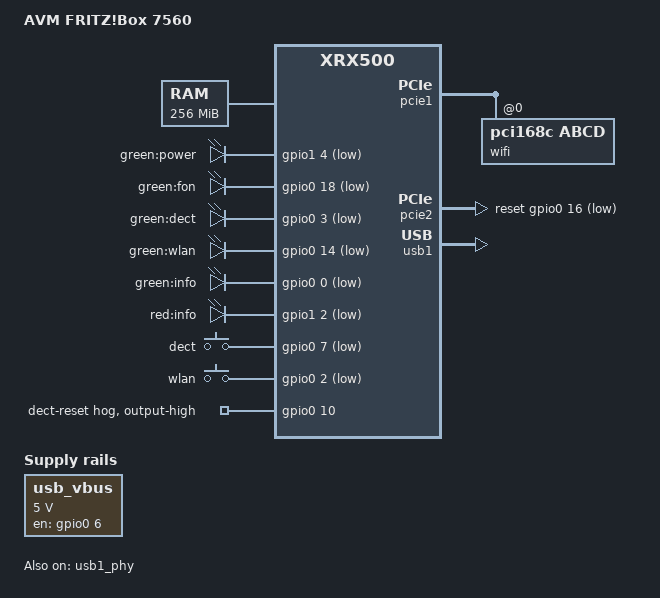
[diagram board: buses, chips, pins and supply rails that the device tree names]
// SPDX-License-Identifier: GPL-2.0-only
// Copyright (C) 2026 Grische <github@grische.xyz>
/*
 * AVM FRITZ!Box 7560 (HW221), GRX350. Board-specific data only; the SoC is
 * described in xrx500.dtsi and the board family in seale_avm.dtsi.
 */
/dts-v1/;

#include <dt-bindings/gpio/gpio.h>
#include <dt-bindings/input/input.h>

#include "seale_avm.dtsi"

/ {
	model = "AVM FRITZ!Box 7560";
	compatible = "avm,fritz7560", "intel,xrx500";

	/*
	 * The boot loader carries a table of device-tree blobs keyed by
	 * hardware sub-revision. Declaring the tag is cosmetic here — the
	 * loader passes this kernel no device tree and the appended blob is
	 * parsed unconditionally — but it stops the loader reporting an
	 * unmatched sub-revision.
	 */
	avm-hw-revision {
		compatible = "avm,avm_hw_revision";
		revision = "221";
		subrevision = "1";
	};

	/*
	 * 256 MiB DDR at PHYS_OFFSET, the full part. It ends at the top of
	 * the uncached window (PHYS_OFFSET + SZ_256M): above that address the
	 * KSEG1 alias of a page is a register address, so no coherent
	 * allocation may land there.
	 */
	memory@20000000 {
		device_type = "memory";
		reg = <0x20000000 0x10000000>;
	};

	aliases {
		serial0 = &asc0;
	};

	chosen {
		stdout-path = "serial0:115200n8";
		bootargs = "";
	};

	reserved-memory {
		#address-cells = <1>;
		#size-cells = <1>;
		ranges;

		/*
		 * Crash persistence. mem-type = <1> asks for
		 * pgprot_noncached: nothing flushes the cache on the watchdog
		 * path, so a cached record would not survive. The zone sizes
		 * fill reg exactly; fs/pstore/ram.c fails the whole probe if
		 * they overflow it. Kept low enough that a recovery image
		 * staged in RAM cannot overwrite the record being diagnosed.
		 */
		ramoops@23700000 {
			compatible = "ramoops";
			reg = <0x23700000 0x100000>;
			record-size = <0x4000>;
			console-size = <0x80000>;
			mem-type = <1>;
		};

		/*
		 * Owned by the second CPU's boot loader; no-map so this
		 * kernel never maps another CPU's memory.
		 */
		cpunet@2dfc0000 {
			reg = <0x2dfc0000 0x40000>;
			no-map;
		};

		bootcore@2e000000 {
			reg = <0x2e000000 0x2000000>;
			no-map;
		};
	};

	/*
	 * Front-panel LEDs, buttons and the DECT reset line. Every line here
	 * is active low: the lamps sink from 3V3.
	 */
	leds {
		compatible = "gpio-leds";

		/*
		 * Bank 1, pin 4 == SoC pin 36. The boot loader already lights
		 * this lamp; default-on avoids a dark gap at probe.
		 */
		led_power: led-0 {
			label = "green:power";
			gpios = <&gpio1 4 GPIO_ACTIVE_LOW>;
			default-state = "on";
		};

		/* Vendor name: gpio_avm_led_internet. Drives "Fon". */
		led_fon: led-1 {
			label = "green:fon";
			gpios = <&gpio0 18 GPIO_ACTIVE_LOW>;
			default-state = "off";
		};

		/* Vendor name: gpio_avm_led_festnetz. Drives "DECT". */
		led_dect: led-2 {
			label = "green:dect";
			gpios = <&gpio0 3 GPIO_ACTIVE_LOW>;
			default-state = "off";
		};

		led_wlan: led-3 {
			label = "green:wlan";
			gpios = <&gpio0 14 GPIO_ACTIVE_LOW>;
			default-state = "off";
		};

		led_info: led-4 {
			label = "green:info";
			gpios = <&gpio0 0 GPIO_ACTIVE_LOW>;
			default-state = "off";
		};

		/* Bank 1, pin 2 == SoC pin 34. */
		led_info_red: led-5 {
			label = "red:info";
			gpios = <&gpio1 2 GPIO_ACTIVE_LOW>;
			default-state = "off";
		};
	};

	/*
	 * Polled rather than interrupt-driven: the GPIO banks do not
	 * publish an irq domain (see xrx500.dtsi). 100 ms is fast enough
	 * for both the short-press and the long-press handlers.
	 */
	keys {
		compatible = "gpio-keys-polled";
		poll-interval = <100>;

		button-dect {
			label = "dect";
			linux,code = <KEY_PHONE>;
			gpios = <&gpio0 7 GPIO_ACTIVE_LOW>;
		};

		button-wlan {
			label = "wlan";
			linux,code = <KEY_RFKILL>;
			gpios = <&gpio0 2 GPIO_ACTIVE_LOW>;
		};
	};

	aliases {
		led-boot = &led_power;
		led-running = &led_power;
		led-failsafe = &led_info_red;
		led-upgrade = &led_info;
		led-wifi = &led_wlan;
	};

	/*
	 * The single USB host port on the back of the box. VBUS is a
	 * GPIO-backed fixed regulator, active high, consumed by the PHY.
	 */
	usb_vbus: regulator-usb-vbus {
		compatible = "regulator-fixed";
		regulator-name = "usb_vbus";
		regulator-min-microvolt = <5000000>;
		regulator-max-microvolt = <5000000>;
		gpio = <&gpio0 6 GPIO_ACTIVE_HIGH>;
		enable-active-high;
	};
};

/*
 * Macronix MX30LF1GE8AB, 128 MiB. The labels and offsets are the layout the
 * vendor boot loader installs, so a vendor recovery still finds them.
 */
&nand0 {
	partitions {
		compatible = "fixed-partitions";
		#address-cells = <1>;
		#size-cells = <1>;

		/*
		 * AVM urlader (first-stage bootloader). It also holds
		 * the only copy of the WiFi calibration data. Read-only:
		 * overwriting it bricks the device past the point of
		 * recovery without JTAG/SPI-flashing the chip.
		 */
		partition@0 {
			label = "urlader";
			reg = <0x0 0x100000>;
			read-only;
		};

		/*
		 * AVM TFFS environment. Holds the only copy of this
		 * device's identity (MAC addresses, serial number).
		 * Read-only: it is never written from Linux, and
		 * erasing it cannot be undone.
		 */
		partition@100000 {
			label = "nand-tffs";
			reg = <0x100000 0x400000>;
			read-only;
		};

		/*
		 * The two 8 MiB kernel slots. The labels name slots, not
		 * roles: the boot loader rewrites the selector, so no label
		 * may claim to be the active one.
		 */
		partition@500000 {
			label = "kernel0";
			reg = <0x500000 0x800000>;
		};

		partition@d00000 {
			label = "kernel1";
			reg = <0xd00000 0x800000>;
		};

		/* UBI volume hosting rootfs / rootfs_data. */
		partition@1500000 {
			label = "ubi";
			reg = <0x1500000 0x6b00000>;
		};
	};
};

/*
 * The four LAN GPHYs this board populates. The reset bit list is not
 * contiguous, so every entry is spelled out; the set bit and the status bit
 * are the same number here, hence the doubled cell.
 */
&gphy_fw {
	phy_id = <0x02 0x03 0x04 0x05>;
	resets = <&rcu_reset0 29 29>,
		 <&rcu_reset0 28 28>,
		 <&rcu_reset0 26 26>,
		 <&rcu_reset0 25 25>;
	reset-names = "phy2", "phy3", "phy4", "phy5";
};

/*
 * DECT reset, active high. No DECT driver exists in this tree, so the
 * line is hogged and driven asserted at boot to hold the Dialog DECT
 * companion chip quiesced instead of leaving it half-initialised and
 * chattering on the shared SSI bus.
 */
&gpio0 {
	dect-reset-hog {
		gpio-hog;
		gpios = <10 GPIO_ACTIVE_HIGH>;
		output-high;
		line-name = "dect-reset";
	};
};

/*
 * The 2.4 GHz radio, behind RC1. qca,no-eeprom is required: there is no
 * calibration EEPROM on the card and the driver must take it from userspace.
 */
&pcie1 {
	pcie@0 {
		reg = <0 0 0 0 0>;
		#size-cells = <2>;
		#address-cells = <3>;
		device_type = "pci";
		ranges;

		wifi@0,0 {
			compatible = "pci168c,abcd";
			reg = <0 0 0 0 0>;
			/* load from ath9k-eeprom-pci-0001:01:00.0.bin */
			qca,no-eeprom;
		};
	};
};

/*
 * VRX318 DSL companion, behind RC2. Inbound byte swapping is off: the
 * endpoint's driver already presents host-endian shared memory.
 */
&pcie2 {
	status = "okay";
	intel,inbound-swap = <0>;
	intel,outbound-swap = <0>;
	reset-gpios = <&gpio0 16 GPIO_ACTIVE_LOW>;
};

&usb1_phy {
	status = "okay";
	vbus-supply = <&usb_vbus>;
};

&usb1 {
	status = "okay";
};
